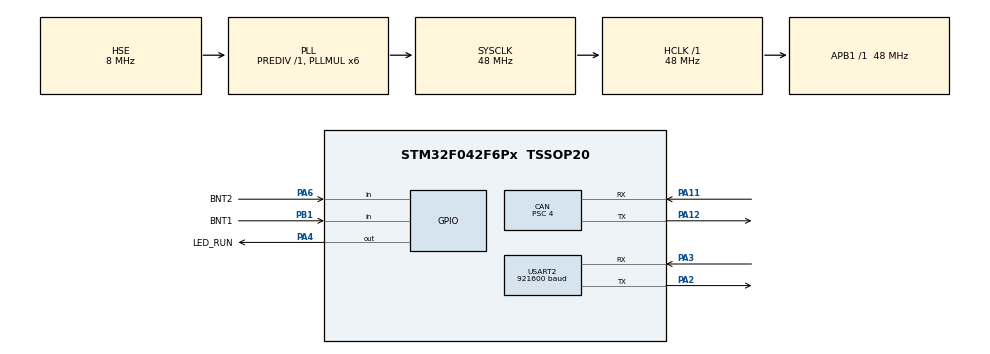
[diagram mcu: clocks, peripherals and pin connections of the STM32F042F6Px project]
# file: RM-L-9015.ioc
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CAN.ABOM=ENABLE
CAN.AWUM=ENABLE
CAN.BS1=CAN_BS1_8TQ
CAN.BS2=CAN_BS2_3TQ
CAN.CalculateTimeQuantum=83.33333333333333
CAN.NART=ENABLE
CAN.Prescaler=4
CAN.TXFP=ENABLE
Dma.Request0=USART2_RX
Dma.Request1=USART2_TX
Dma.USART2_RX.0.Direction=DMA_PERIPH_TO_MEMORY
Dma.USART2_RX.0.Instance=DMA1_Channel5
Dma.USART2_RX.0.MemDataAlignment=DMA_MDATAALIGN_BYTE
Dma.USART2_RX.0.MemInc=DMA_MINC_ENABLE
Dma.USART2_RX.0.Mode=DMA_CIRCULAR
Dma.USART2_RX.0.PeriphDataAlignment=DMA_PDATAALIGN_BYTE
Dma.USART2_RX.0.PeriphInc=DMA_PINC_DISABLE
Dma.USART2_RX.0.Priority=DMA_PRIORITY_LOW
Dma.USART2_TX.1.Direction=DMA_MEMORY_TO_PERIPH
Dma.USART2_TX.1.Instance=DMA1_Channel4
Dma.USART2_TX.1.MemDataAlignment=DMA_MDATAALIGN_BYTE
Dma.USART2_TX.1.MemInc=DMA_MINC_ENABLE
Dma.USART2_TX.1.Mode=DMA_NORMAL
Dma.USART2_TX.1.PeriphDataAlignment=DMA_PDATAALIGN_BYTE
Dma.USART2_TX.1.PeriphInc=DMA_PINC_DISABLE
Dma.USART2_TX.1.Priority=DMA_PRIORITY_LOW
Mcu.Family=STM32F0
Mcu.Name=STM32F042F6Px
Mcu.Package=TSSOP20
NVIC.CEC_CAN_IRQn=true\:0\:0\:false\:false\:true\:true\:true
NVIC.DMA1_Channel4_5_IRQn=true\:0\:0\:false\:false\:true\:false\:true
NVIC.TIM17_IRQn=true\:0\:0\:false\:false\:true\:true\:true
NVIC.USART2_IRQn=true\:0\:0\:false\:false\:true\:true\:true
PA11.Mode=Master
PA11.Signal=CAN_RX
PA12.Mode=Master
PA12.Signal=CAN_TX
PA13.Mode=Serial_Wire
PA13.Signal=SYS_SWDIO
PA14.Mode=Serial_Wire
PA14.Signal=SYS_SWCLK
PA2.Mode=Asynchronous
PA2.Signal=USART2_TX
PA3.Mode=Asynchronous
PA3.Signal=USART2_RX
PA4.GPIO_Label=LED_RUN
PA4.Signal=GPIO_Output
PA6.GPIO_Label=BNT2
PA6.Signal=GPIO_Input
PB1.GPIO_Label=BNT1
PB1.Signal=GPIO_Input
PF0-OSC_IN.Mode=HSE-External-Oscillator
PF0-OSC_IN.Signal=RCC_OSC_IN
PF1-OSC_OUT.Mode=HSE-External-Oscillator
PF1-OSC_OUT.Signal=RCC_OSC_OUT
ProjectManager.HeapSize=0x200
ProjectManager.StackSize=0x400
ProjectManager.TargetToolchain=MDK-ARM V5
RCC.AHBFreq_Value=48000000
RCC.APB1Freq_Value=48000000
RCC.APB1TimFreq_Value=48000000
RCC.HCLKFreq_Value=48000000
RCC.PLLMUL=RCC_PLL_MUL6
RCC.PLLSourceVirtual=RCC_PLLSOURCE_HSE
RCC.SYSCLKFreq_VALUE=48000000
RCC.SYSCLKSource=RCC_SYSCLKSOURCE_PLLCLK
TIM17.Period=5000
TIM17.Prescaler=48-1
USART2.BaudRate=921600
USART2.VirtualMode-Asynchronous=VM_ASYNC
VP_SYS_VS_PINREMAP.Mode=PINREMAP
VP_TIM17_VS_ClockSourceINT.Mode=Enable_Timer
board=custom

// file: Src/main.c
/* USER CODE BEGIN Header */
/**
  ******************************************************************************
  * @file           : main.c
  * @brief          : Main program body
  ******************************************************************************
  * @attention
  *
  * <h2><center>&copy; Copyright (c) 2020 STMicroelectronics.
  * All rights reserved.</center></h2>
  *
  * This software component is licensed by ST under BSD 3-Clause license,
  * the "License"; You may not use this file except in compliance with the
  * License. You may obtain a copy of the License at:
  *                        opensource.org/licenses/BSD-3-Clause
  *
  ******************************************************************************
  */
/* USER CODE END Header */

#include "main.h"
#include "can.h"
#include "dma.h"
#include "tim.h"
#include "usart.h"
#include "gpio.h"

/* USER CODE BEGIN Includes */
#include "multi_button.h"
#include "button.h"
#include "can_comm.h"
#include "stdbool.h"
/* USER CODE END Includes */

/* USER CODE BEGIN PTD */

#define MOTOR1_NODEID   1

/* USER CODE END PTD */

/* USER CODE BEGIN PV */
/* printf函数功能添加 */
#ifdef __GNUC__
  /* With GCC/RAISONANCE, small printf (option LD Linker->Libraries->Small printf
     set to 'Yes') calls __io_putchar() */
  #define PUTCHAR_PROTOTYPE int __io_putchar(int ch)
#else
  #define PUTCHAR_PROTOTYPE int fputc(int ch, FILE *f)
#endif /* __GNUC__ */
/**
  * @brief  Retargets the C library printf function to the USART.
  * @param  None
  * @retval None
  */
PUTCHAR_PROTOTYPE
{
  /* Place your implementation of fputc here */
  /* e.g. write a character to the EVAL_COM1 and Loop until the end of transmission */
  HAL_UART_Transmit(&huart2, (uint8_t *)&ch, 1, 0xFFFF);

  return ch;
}
/* printf函数功能实现 */
/* USER CODE END PV */

void SystemClock_Config(void);

/* USER CODE BEGIN 0 */
int8_t BNT1_state = -1;
int8_t BNT2_state = -1;

/* USER CODE END 0 */

int main(void)
{
  /* USER CODE BEGIN 1 */

    uint32_t pre_tick = 0;

  /* USER CODE END 1 */

  /* MCU Configuration--------------------------------------------------------*/

  /* Reset of all peripherals, Initializes the Flash interface and the Systick. */
  HAL_Init();

  /* Configure the system clock */
  SystemClock_Config();

  /* Initialize all configured peripherals */
  MX_GPIO_Init();
  MX_DMA_Init();
  MX_CAN_Init();
  MX_TIM17_Init();
  MX_USART2_UART_Init();
  /* USER CODE BEGIN 2 */

  Button_Init();
  CanComm_Init();
  HAL_TIM_Base_Start_IT(&htim17);

  /* USER CODE END 2 */

  /* Infinite loop */
  while (1)
  {

    /* USER CODE BEGIN 3 */

        BNT1_state = get_bnt1_state();    /**!< 校准按钮 */
        BNT2_state = get_bnt2_state();    /**!< 控制按钮 */

        if(BNT2_state == SINGLE_CLICK)
        {
            /* 电机在位置模式下，旋转一圈 */
            CANComm_SetMode(MOTOR1_NODEID, POSITION_MODE);
            HAL_Delay(1);
            CANComm_SetPostion(MOTOR1_NODEID, CPR/2);
        }
        else if(BNT1_state == SINGLE_CLICK)
        {
            /* 电机速度为0 */
            CANComm_SetMode(MOTOR1_NODEID, VELOCITY_Mode);
            HAL_Delay(1);
            CANComm_SetVelocity(MOTOR1_NODEID, 0);
        }
        else if(BNT1_state == DOUBLE_CLICK)
        {
            /* 电机按照指定的速度旋转 */
            CANComm_SetMode(MOTOR1_NODEID, VELOCITY_Mode);
            HAL_Delay(1);
            CANComm_SetVelocity(MOTOR1_NODEID, 3000);
        }

        /* 读取当前的位置、速度、电流 */
        if((HAL_GetTick() - pre_tick) >= 100)
        {
            pre_tick = HAL_GetTick();
            HAL_GPIO_TogglePin(LED_RUN_GPIO_Port, LED_RUN_Pin);
            HAL_Delay(1);
            CANComm_GetPosition(MOTOR1_NODEID);
            HAL_Delay(1);
            CANComm_GetVelocity(MOTOR1_NODEID);
            HAL_Delay(1);
            CANComm_GetCurrent(MOTOR1_NODEID);
            HAL_Delay(1);
        }
  }
  /* USER CODE END 3 */
}

void SystemClock_Config(void)
{
  RCC_OscInitTypeDef RCC_OscInitStruct = {0};
  RCC_ClkInitTypeDef RCC_ClkInitStruct = {0};

  /** Initializes the CPU, AHB and APB busses clocks
  */
  RCC_OscInitStruct.OscillatorType = RCC_OSCILLATORTYPE_HSE;
  RCC_OscInitStruct.HSEState = RCC_HSE_ON;
  RCC_OscInitStruct.PLL.PLLState = RCC_PLL_ON;
  RCC_OscInitStruct.PLL.PLLSource = RCC_PLLSOURCE_HSE;
  RCC_OscInitStruct.PLL.PLLMUL = RCC_PLL_MUL6;
  RCC_OscInitStruct.PLL.PREDIV = RCC_PREDIV_DIV1;
  if (HAL_RCC_OscConfig(&RCC_OscInitStruct) != HAL_OK)
  {
    Error_Handler();
  }
  /** Initializes the CPU, AHB and APB busses clocks
  */
  RCC_ClkInitStruct.ClockType = RCC_CLOCKTYPE_HCLK|RCC_CLOCKTYPE_SYSCLK
                              |RCC_CLOCKTYPE_PCLK1;
  RCC_ClkInitStruct.SYSCLKSource = RCC_SYSCLKSOURCE_PLLCLK;
  RCC_ClkInitStruct.AHBCLKDivider = RCC_SYSCLK_DIV1;
  RCC_ClkInitStruct.APB1CLKDivider = RCC_HCLK_DIV1;

  if (HAL_RCC_ClockConfig(&RCC_ClkInitStruct, FLASH_LATENCY_1) != HAL_OK)
  {
    Error_Handler();
  }
}

void Error_Handler(void)
{
}

/************************ (C) COPYRIGHT STMicroelectronics *****END OF FILE****/
